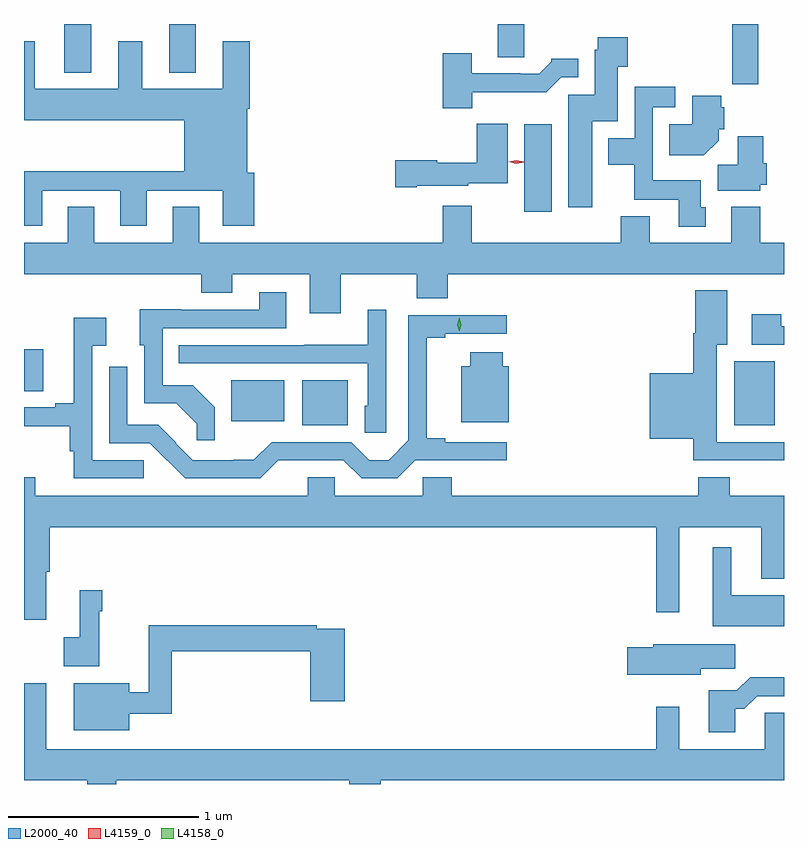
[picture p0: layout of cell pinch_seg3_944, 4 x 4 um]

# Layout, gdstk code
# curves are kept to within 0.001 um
import gdstk
lib = gdstk.Library(unit=1e-6, precision=1e-09)
def R(c, l, rs):  # rectangles x0, y0, x1, y1
    for r in rs: c.add(gdstk.rectangle(r[:2], r[2:], *l))
def P(c, l, *ps):  # polygons
    for p in ps: c.add(gdstk.Polygon(p, *l))
L2000_40 = (2000, 40)
L4158_0 = (4158, 0)
L4159_0 = (4159, 0)

pinch_seg3_944 = lib.new_cell('pinch_seg3_944')
R(pinch_seg3_944, L2000_40, [(567.998,728.093,568.237,728.329), (570.272,728.093,570.484,728.428), (567.626,728.114,567.904,728.329), (566.534,728.272,566.635,728.493), (569.168,729.216,569.311,729.676), (570.262,729.888,570.398,730.204), (566.747,729.947,566.887,730.204), (567.299,729.947,567.439,730.204), (569.027,730.03,569.167,730.204)])
P(pinch_seg3_944, L2000_40, [(569.524,729.692),(569.659,729.692),(569.659,729.979),(569.711,729.979),(569.711,730.135),(569.554,730.135),(569.554,730.068),(569.537,730.068),(569.537,729.831),(569.399,729.831),(569.399,729.24),(569.524,729.24)],
  [(566.629,729.327),(567.041,729.327),(567.041,729.141),(567.181,729.141),(567.181,729.327),(567.581,729.327),(567.581,729.141),(567.746,729.141),(567.746,729.42),(567.709,729.42),(567.709,729.758),(567.722,729.758),(567.722,730.114),(567.581,730.114),(567.581,729.862),(567.157,729.862),(567.157,730.114),(567.029,730.114),(567.029,729.862),(566.59,729.862),(566.59,730.114),(566.534,730.114),(566.534,729.698),(567.377,729.698),(567.377,729.428),(566.534,729.428),(566.534,729.141),(566.629,729.141)],
  [(568.894,729.846),(569.283,729.846),(569.361,729.924),(569.452,729.924),(569.452,730.021),(569.31,730.021),(569.31,730.006),(569.246,729.942),(569.147,729.942),(569.147,729.945),(568.891,729.945),(568.891,730.051),(568.739,730.051),(568.739,729.761),(568.894,729.761)],
  [(570.121,729.24),(570.097,729.24),(570.097,729.382),(569.844,729.382),(569.844,729.765),(569.962,729.765),(569.962,729.874),(569.748,729.874),(569.748,729.604),(569.609,729.604),(569.609,729.464),(569.746,729.464),(569.746,729.278),(569.981,729.278),(569.981,729.138),(570.121,729.138)],
  [(570.19,729.59),(570.19,729.651),(570.219,729.651),(570.219,729.765),(570.203,729.765),(570.203,729.826),(570.05,729.826),(570.05,729.676),(569.929,729.676),(569.929,729.512),(570.112,729.512)],
  [(568.6,729.353),(568.872,729.353),(568.872,729.365),(569.08,729.365),(569.08,729.679),(568.918,729.679),(568.918,729.475),(568.71,729.475),(568.71,729.488),(568.488,729.488),(568.488,729.346),(568.6,729.346)],
  [(570.408,729.357),(570.443,729.357),(570.443,729.471),(570.425,729.471),(570.425,729.613),(570.291,729.613),(570.291,729.464),(570.185,729.464),(570.185,729.326),(570.408,729.326)],
  [(568.201,728.888),(568.601,728.888),(568.601,728.76),(568.765,728.76),(568.765,728.888),(570.534,728.888),(570.534,729.052),(570.41,729.052),(570.41,729.241),(570.257,729.241),(570.257,729.052),(569.827,729.052),(569.827,729.193),(569.675,729.193),(569.675,729.052),(568.891,729.052),(568.891,729.247),(568.739,729.247),(568.739,729.052),(567.457,729.052),(567.457,729.242),(567.317,729.242),(567.317,729.052),(566.905,729.052),(566.905,729.242),(566.765,729.242),(566.765,729.052),(566.534,729.052),(566.534,728.888),(567.467,728.888),(567.467,728.789),(567.631,728.789),(567.631,728.888),(568.037,728.888),(568.037,728.682),(568.201,728.682)],
  [(570.534,728.004),(570.181,728.004),(570.181,728.516),(570.235,728.516),(570.235,728.803),(570.068,728.803),(570.068,728.576),(570.056,728.576),(570.056,728.365),(569.828,728.365),(569.828,728.021),(570.056,728.021),(570.056,727.907),(570.534,727.907)],
  [(567.537,728.188),(567.421,728.304),(567.264,728.304),(567.264,728.604),(567.913,728.604),(567.913,728.791),(567.773,728.791),(567.773,728.7),(567.361,728.7),(567.361,728.702),(567.143,728.702),(567.143,728.514),(567.168,728.514),(567.168,728.208),(567.334,728.208),(567.442,728.1),(567.442,728.013),(567.537,728.013)],
  [(568.44,728.701),(568.343,728.701),(568.343,728.515),(568.009,728.515),(568.009,728.514),(567.349,728.514),(567.349,728.418),(568.344,728.418),(568.344,728.196),(568.328,728.196),(568.328,728.053),(568.44,728.053)],
  [(570.534,728.613),(570.519,728.613),(570.519,728.677),(570.363,728.677),(570.363,728.517),(570.534,728.517)],
  [(567.872,727.907),(568.215,727.908),(568.311,727.812),(568.498,727.812),(568.594,727.908),(569.074,727.907),(569.074,728.004),(568.75,728.004),(568.75,728.024),(568.655,728.024),(568.655,728.554),(568.75,728.554),(568.75,728.574),(569.074,728.574),(569.074,728.672),(568.861,728.672),(568.861,728.67),(568.557,728.67),(568.557,728.013),(568.453,727.909),(568.352,727.909),(568.257,728.004),(567.837,728.004),(567.743,727.91),(567.638,727.91),(567.638,727.908),(567.423,727.908),(567.333,727.998),(567.335,728),(567.241,728.094),(567.078,728.094),(567.078,728.401),(566.982,728.401),(566.982,727.998),(567.195,727.998),(567.383,727.812),(567.777,727.812)],
  [(567.165,727.908),(566.892,727.908),(566.892,728.51),(566.968,728.51),(566.968,728.659),(566.795,728.659),(566.795,728.207),(566.699,728.207),(566.699,728.187),(566.534,728.187),(566.534,728.086),(566.776,728.086),(566.776,727.955),(566.795,727.955),(566.795,727.812),(567.165,727.812)],
  [(569.086,728.404),(569.054,728.404),(569.054,728.476),(568.883,728.476),(568.883,728.404),(568.835,728.404),(568.835,728.108),(569.086,728.108)],
  [(566.651,727.32),(566.669,727.32),(566.669,727.556),(569.862,727.556),(569.862,727.107),(569.983,727.107),(569.983,727.556),(570.413,727.556),(570.413,727.283),(570.534,727.283),(570.534,727.72),(570.248,727.72),(570.248,727.819),(570.083,727.819),(570.083,727.72),(568.784,727.72),(568.784,727.818),(568.632,727.818),(568.632,727.72),(568.17,727.72),(568.17,727.818),(568.028,727.818),(568.028,727.72),(566.593,727.72),(566.593,727.819),(566.534,727.819),(566.534,727.068),(566.651,727.068)],
  [(570.534,727.198),(570.256,727.198),(570.256,727.45),(570.158,727.45),(570.158,727.034),(570.534,727.034)],
  [(566.93,727.112),(566.945,727.112),(566.945,727.225),(566.828,727.225),(566.828,726.977),(566.742,726.977),(566.742,726.824),(566.93,726.824)],
  [(567.088,726.575),(567.311,726.575),(567.311,726.904),(568.04,726.904),(568.04,726.639),(568.223,726.639),(568.223,727.02),(568.076,727.02),(568.076,727.04),(567.19,727.04),(567.19,726.688),(567.088,726.688),(567.088,726.733),(566.795,726.733),(566.795,726.488),(567.088,726.488)],
  [(570.097,726.811),(570.277,726.811),(570.277,726.94),(569.846,726.94),(569.846,726.923),(569.709,726.923),(569.709,726.779),(570.097,726.779)],
  [(570.277,726.599),(570.326,726.599),(570.393,726.666),(570.534,726.666),(570.534,726.767),(570.356,726.767),(570.286,726.697),(570.137,726.697),(570.137,726.477),(570.277,726.477)],
  [(567.019,726.224),(568.247,726.224),(568.247,726.204),(568.412,726.204),(568.412,726.224),(570.534,726.224),(570.534,726.578),(570.432,726.578),(570.432,726.388),(569.983,726.388),(569.983,726.61),(569.862,726.61),(569.862,726.388),(566.65,726.388),(566.65,726.733),(566.534,726.733),(566.534,726.224),(566.867,726.224),(566.867,726.204),(567.019,726.204)])
P(pinch_seg3_944, L4158_0, [(568.825,728.586),(568.815,728.622),(568.824,728.658),(568.824,728.658),(568.824,728.658),(568.835,728.622),(568.826,728.586),(568.826,728.586)])
P(pinch_seg3_944, L4159_0, [(569.124,729.468),(569.084,729.478),(569.083,729.478),(569.084,729.478),(569.125,729.488),(569.166,729.478),(569.166,729.477),(569.166,729.477)])

lib.write_gds('pinch_seg3_944.gds')
